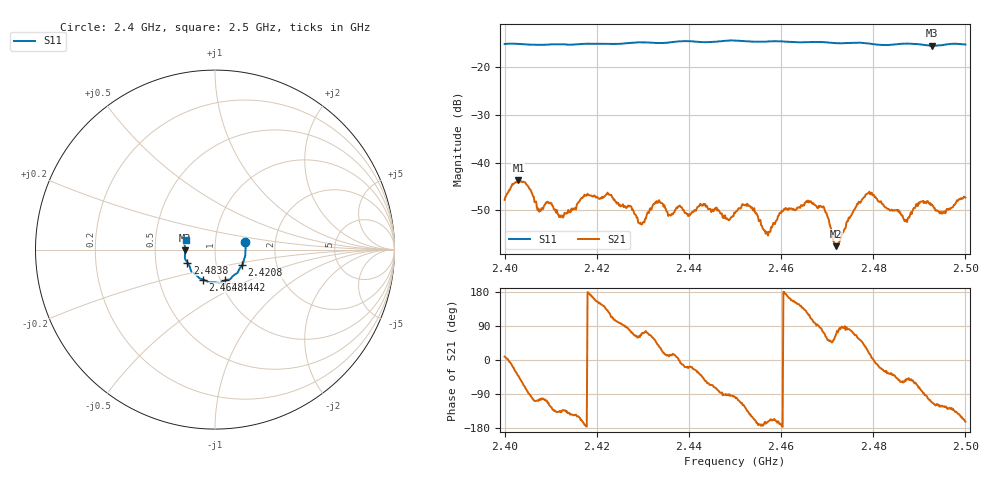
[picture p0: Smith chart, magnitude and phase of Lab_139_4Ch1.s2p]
# Hz S RI R 50
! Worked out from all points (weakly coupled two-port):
!   601 points, 2.4 GHz to 2.5 GHz, reference 50 ohm
!   highest |S21| = -43.74 dB at 2.403 GHz (marker M1); lowest = -57.5 dB at 2.4718 GHz (marker M2)
!   lowest |S11| = -15.6 dB at 2.4928 GHz (marker M3), VSWR 1.40, Z = 35.8 - j0.366 ohm
!   |S11| at or under -10 dB: start of sweep to end of sweep
!   S12 and S22 are empty: the file has one direction only
!   S11 on the Smith chart (normalised r, x): 2.4 GHz: 1.40, +0.12; 2.4208 GHz: 1.33, -0.24; 2.4442 GHz: 1.05, -0.37; 2.4648 GHz: 0.83, -0.29; 2.4838 GHz: 0.73, -0.11; 2.5 GHz: 0.72, +0.08
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2.4e9  0.1678 0.0411  0.00403 0.000626  0 0  0 0
2.403e9  0.1714 0.0245  0.00482 -0.00436  0 0  0 0
2.412167e9  0.1669 -0.0397  -0.002 -0.0018  0 0  0 0
2.416667e9  0.159 -0.068  -0.00394 -0.00162  0 0  0 0
2.420833e9  0.1506 -0.0872  -0.00362 0.00225  0 0  0 0
2.4295e9  0.1258 -0.129  0.000931 0.00217  0 0  0 0
2.433333e9  0.1079 -0.1402  0.00299 0.00247  0 0  0 0
2.436e9  0.0945 -0.1531  0.00272 0.000653  0 0  0 0
2.444167e9  0.0567 -0.1713  0.00158 -0.00285  0 0  0 0
2.45e9  0.0244 -0.1862  -0.000387 -0.00294  0 0  0 0
2.453167e9  0.00746 -0.1835  -0.00286 -0.0021  0 0  0 0
2.457167e9  -0.0211 -0.1824  -0.00165 -0.000519  0 0  0 0
2.464833e9  -0.0684 -0.1667  -0.00263 0.00251  0 0  0 0
2.466667e9  -0.0801 -0.1626  -0.00115 0.00359  0 0  0 0
2.4695e9  -0.0913 -0.1554  0.00119 0.00293  0 0  0 0
2.471833e9  -0.101 -0.1446  0.000575 0.00121  0 0  0 0
2.478667e9  -0.1357 -0.1118  0.0042 0.00213  0 0  0 0
2.483333e9  -0.1506 -0.0761  0.00268 -0.0019  0 0  0 0
2.483833e9  -0.1533 -0.0721  0.00261 -0.00179  0 0  0 0
2.487e9  -0.1666 -0.0522  0.0014 -0.00209  0 0  0 0
2.492833e9  -0.1659 -0.00497  -0.00139 -0.00329  0 0  0 0
2.5e9  -0.1622 0.0528  -0.00412 -0.00128  0 0  0 0
